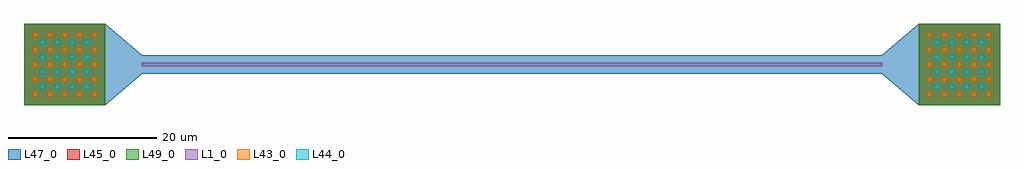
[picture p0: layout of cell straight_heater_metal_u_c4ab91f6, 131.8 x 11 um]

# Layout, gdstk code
from math import pi, radians
import gdstk
lib = gdstk.Library(unit=1e-6, precision=1e-09)
def R(c, l, rs):  # rectangles x0, y0, x1, y1
    for r in rs: c.add(gdstk.rectangle(r[:2], r[2:], *l))
def P(c, l, *ps):  # polygons
    for p in ps: c.add(gdstk.Polygon(p, *l))
L1_0 = (1, 0)
L43_0 = (43, 0)
L44_0 = (44, 0)
L45_0 = (45, 0)
L47_0 = (47, 0)
L49_0 = (49, 0)

compass_s11_11_lheater__ = lib.new_cell('compass_S11_11_LHEATER__b6e1515a')
R(compass_s11_11_lheater__, L47_0, [(-5.5,-5.5,5.5,5.5)])

compass_s11_11_lm2_ptno_ = lib.new_cell('compass_S11_11_LM2_PTNo_77959dec')
R(compass_s11_11_lm2_ptno_, L45_0, [(-5.5,-5.5,5.5,5.5)])

compass_s11_11_lmtop_pt_ = lib.new_cell('compass_S11_11_LMTOP_PT_f51d34f1')
R(compass_s11_11_lmtop_pt_, L49_0, [(-5.5,-5.5,5.5,5.5)])

via_s0p7_0p7_s2_2_gnone_ = lib.new_cell('via_S0p7_0p7_S2_2_GNone_3d643c37')
R(via_s0p7_0p7_s2_2_gnone_, L44_0, [(-0.35,-0.35,0.35,0.35)])

c_via_s0p7_0p7_s2_2_gnone_ = lib.new_cell('via_S0p7_0p7_S2_2_GNone_c4f19208')
R(c_via_s0p7_0p7_s2_2_gnone_, L43_0, [(-0.35,-0.35,0.35,0.35)])

via_stack_s11_11_lheate_ = lib.new_cell('via_stack_S11_11_LHEATE_f29565aa')
via_stack_s11_11_lheate_.add(gdstk.Reference(compass_s11_11_lheater__, (0,0)))
via_stack_s11_11_lheate_.add(gdstk.Reference(compass_s11_11_lm2_ptno_, (0,0)))
via_stack_s11_11_lheate_.add(gdstk.Reference(compass_s11_11_lmtop_pt_, (0,0)))
r = gdstk.Reference(via_s0p7_0p7_s2_2_gnone_, (-3,-3)); r.repetition = gdstk.Repetition(4, 4, v1=(2,0), v2=(0,2)); via_stack_s11_11_lheate_.add(r)
r = gdstk.Reference(c_via_s0p7_0p7_s2_2_gnone_, (-4,-4)); r.repetition = gdstk.Repetition(5, 5, v1=(2,0), v2=(0,2)); via_stack_s11_11_lheate_.add(r)

taper_l5_w11_w2p5_pnone_ = lib.new_cell('taper_L5_W11_W2p5_PNone_4a19c1ba')
P(taper_l5_w11_w2p5_pnone_, L47_0, [(0,-5.5),(0,5.5),(5,1.25),(5,-1.25)])

straight_l0p1_n2_csstrip = lib.new_cell('straight_L0p1_N2_CSstrip')
R(straight_l0p1_n2_csstrip, L1_0, [(0,-0.25,0.1,0.25)])

straight_l2p4_n2_csstri_ = lib.new_cell('straight_L2p4_N2_CSstri_39572eeb')
R(straight_l2p4_n2_csstri_, L1_0, [(0,-0.25,2.4,0.25)])
R(straight_l2p4_n2_csstri_, L47_0, [(0,-1.25,2.4,1.25)])

straight_l5_n2_csstrip__ = lib.new_cell('straight_L5_N2_CSstrip__489d0ccd')
R(straight_l5_n2_csstrip__, L1_0, [(0,-0.25,5,0.25)])
R(straight_l5_n2_csstrip__, L47_0, [(0,-1.25,5,1.25)])

straight_heater_metal_u_ = lib.new_cell('straight_heater_metal_u_c4ab91f6')
straight_heater_metal_u_.add(gdstk.Reference(via_stack_s11_11_lheate_, (-10.4,0)))
straight_heater_metal_u_.add(gdstk.Reference(via_stack_s11_11_lheate_, (110.4,0)))
straight_heater_metal_u_.add(gdstk.Reference(taper_l5_w11_w2p5_pnone_, (-4.9,0)))
straight_heater_metal_u_.add(gdstk.Reference(taper_l5_w11_w2p5_pnone_, (104.9,0), rotation=pi))
straight_heater_metal_u_.add(gdstk.Reference(straight_l0p1_n2_csstrip, (0,0)))
straight_heater_metal_u_.add(gdstk.Reference(straight_l2p4_n2_csstri_, (0.1,0)))
straight_heater_metal_u_.add(gdstk.Reference(straight_l5_n2_csstrip__, (2.5,0)))
straight_heater_metal_u_.add(gdstk.Reference(straight_l5_n2_csstrip__, (7.5,0)))
straight_heater_metal_u_.add(gdstk.Reference(straight_l5_n2_csstrip__, (12.5,0)))
straight_heater_metal_u_.add(gdstk.Reference(straight_l5_n2_csstrip__, (17.5,0)))
straight_heater_metal_u_.add(gdstk.Reference(straight_l5_n2_csstrip__, (22.5,0)))
straight_heater_metal_u_.add(gdstk.Reference(straight_l5_n2_csstrip__, (27.5,0)))
straight_heater_metal_u_.add(gdstk.Reference(straight_l5_n2_csstrip__, (32.5,0)))
straight_heater_metal_u_.add(gdstk.Reference(straight_l5_n2_csstrip__, (37.5,0)))
straight_heater_metal_u_.add(gdstk.Reference(straight_l5_n2_csstrip__, (42.5,0)))
straight_heater_metal_u_.add(gdstk.Reference(straight_l5_n2_csstrip__, (47.5,0)))
straight_heater_metal_u_.add(gdstk.Reference(straight_l5_n2_csstrip__, (52.5,0)))
straight_heater_metal_u_.add(gdstk.Reference(straight_l5_n2_csstrip__, (57.5,0)))
straight_heater_metal_u_.add(gdstk.Reference(straight_l5_n2_csstrip__, (62.5,0)))
straight_heater_metal_u_.add(gdstk.Reference(straight_l5_n2_csstrip__, (67.5,0)))
straight_heater_metal_u_.add(gdstk.Reference(straight_l5_n2_csstrip__, (72.5,0)))
straight_heater_metal_u_.add(gdstk.Reference(straight_l5_n2_csstrip__, (77.5,0)))
straight_heater_metal_u_.add(gdstk.Reference(straight_l5_n2_csstrip__, (82.5,0)))
straight_heater_metal_u_.add(gdstk.Reference(straight_l5_n2_csstrip__, (87.5,0)))
straight_heater_metal_u_.add(gdstk.Reference(straight_l5_n2_csstrip__, (92.5,0)))
straight_heater_metal_u_.add(gdstk.Reference(straight_l2p4_n2_csstri_, (97.5,0)))
straight_heater_metal_u_.add(gdstk.Reference(straight_l0p1_n2_csstrip, (99.9,0)))

lib.write_gds('straight_heater_metal_u_c4ab91f6.gds')
